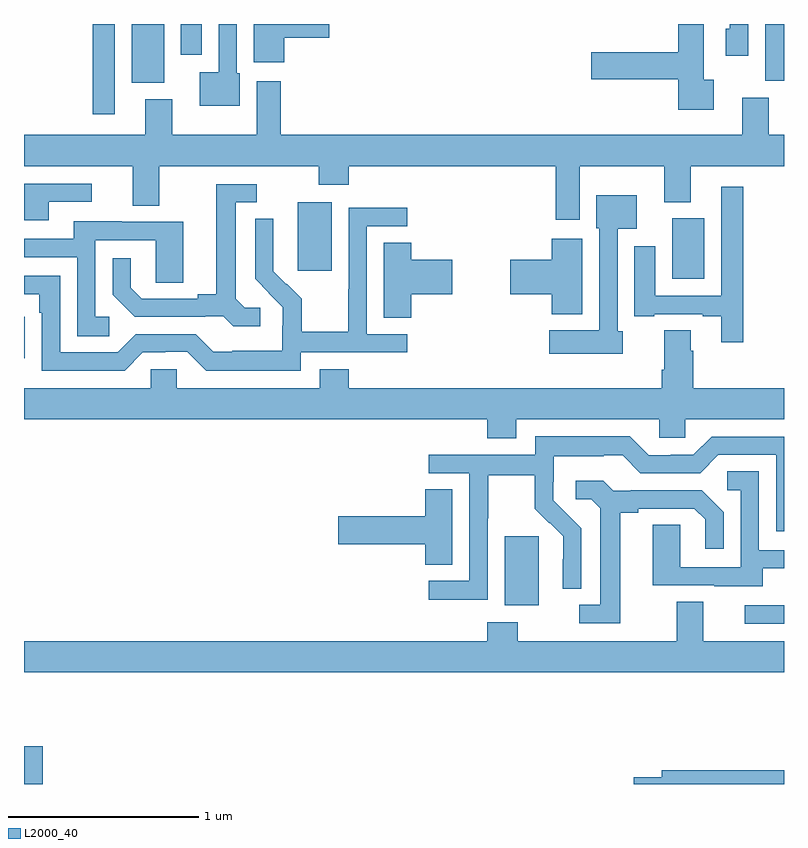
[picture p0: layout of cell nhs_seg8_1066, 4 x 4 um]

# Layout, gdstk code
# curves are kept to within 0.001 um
import gdstk
lib = gdstk.Library(unit=1e-6, precision=1e-09)
def R(c, l, rs):  # rectangles x0, y0, x1, y1
    for r in rs: c.add(gdstk.rectangle(r[:2], r[2:], *l))
def P(c, l, *ps):  # polygons
    for p in ps: c.add(gdstk.Polygon(p, *l))
L2000_40 = (2000, 40)

nhs_seg8_1066 = lib.new_cell('nhs_seg8_1066')
R(nhs_seg8_1066, L2000_40, [(179,1127.9,179.099,1128.1), (182.793,1128.744,183,1128.84), (181.529,1128.842,181.708,1129.203), (179,1130.142,179.003,1130.36), (182.411,1130.558,182.581,1130.878), (180.44,1130.601,180.619,1130.962), (179.362,1131.426,179.478,1131.9), (179.567,1131.59,179.737,1131.9), (182.9,1131.601,183,1131.9), (179.825,1131.738,179.935,1131.9)])
P(nhs_seg8_1066, L2000_40, [(182.811,1131.9),(182.715,1131.9),(182.715,1131.876),(182.694,1131.876),(182.694,1131.732),(182.811,1131.732)],
  [(180.136,1131.642),(180.12,1131.642),(180.12,1131.9),(180.024,1131.9),(180.024,1131.646),(179.924,1131.646),(179.924,1131.47),(180.136,1131.47)],
  [(180.371,1131.827),(180.607,1131.827),(180.607,1131.9),(180.209,1131.9),(180.209,1131.699),(180.371,1131.699)],
  [(182.629,1131.606),(182.578,1131.606),(182.578,1131.9),(182.444,1131.9),(182.444,1131.752),(181.986,1131.752),(181.986,1131.61),(182.444,1131.61),(182.444,1131.45),(182.629,1131.45)],
  [(181.924,1131.152),(182.369,1131.152),(182.369,1130.963),(182.509,1130.963),(182.509,1131.152),(183,1131.152),(183,1131.316),(182.92,1131.316),(182.92,1131.511),(182.78,1131.511),(182.78,1131.316),(180.35,1131.316),(180.35,1131.598),(180.224,1131.598),(180.224,1131.316),(179.779,1131.316),(179.779,1131.505),(179.639,1131.505),(179.639,1131.316),(179,1131.316),(179,1131.152),(179.573,1131.152),(179.573,1130.944),(179.713,1130.944),(179.713,1131.152),(180.55,1131.152),(180.55,1131.053),(180.71,1131.053),(180.71,1131.152),(181.799,1131.152),(181.799,1130.871),(181.924,1130.871)],
  [(179.131,1130.964),(179.356,1130.964),(179.356,1131.06),(179,1131.06),(179,1130.868),(179.131,1130.868)],
  [(180.244,1130.406),(180.162,1130.406),(180.115,1130.453),(180.115,1130.961),(180.226,1130.961),(180.226,1131.057),(180.011,1131.057),(180.011,1130.477),(179.915,1130.477),(179.915,1130.454),(179.62,1130.454),(179.563,1130.511),(179.563,1130.668),(179.466,1130.668),(179.466,1130.474),(179.582,1130.358),(179.954,1130.358),(179.954,1130.361),(180.048,1130.361),(180.1,1130.309),(180.244,1130.309)],
  [(182.786,1131.043),(182.67,1131.043),(182.67,1130.469),(182.323,1130.469),(182.323,1130.731),(182.213,1130.731),(182.213,1130.361),(182.317,1130.361),(182.317,1130.373),(182.573,1130.373),(182.573,1130.361),(182.669,1130.361),(182.669,1130.226),(182.786,1130.226)],
  [(182.152,1130.283),(182.124,1130.283),(182.124,1130.822),(182.224,1130.822),(182.224,1130.998),(182.012,1130.998),(182.012,1130.826),(182.028,1130.826),(182.028,1130.287),(181.764,1130.287),(181.764,1130.165),(182.152,1130.165)],
  [(180.456,1130.172),(181.018,1130.172),(181.018,1130.268),(180.804,1130.268),(180.804,1130.835),(181.018,1130.835),(181.018,1130.934),(180.708,1130.934),(180.708,1130.504),(180.706,1130.504),(180.706,1130.281),(180.461,1130.281),(180.461,1130.455),(180.384,1130.532),(180.381,1130.529),(180.311,1130.6),(180.312,1130.876),(180.216,1130.876),(180.216,1130.558),(180.362,1130.41),(180.362,1130.313),(180.36,1130.313),(180.36,1130.179),(180.097,1130.179),(180.097,1130.175),(179.997,1130.175),(179.904,1130.268),(179.589,1130.268),(179.493,1130.172),(179.19,1130.172),(179.19,1130.574),(179,1130.574),(179,1130.478),(179.081,1130.478),(179.081,1130.381),(179.094,1130.381),(179.094,1130.076),(179.529,1130.076),(179.625,1130.172),(179.744,1130.172),(179.744,1130.175),(179.859,1130.175),(179.959,1130.075),(180.456,1130.075)],
  [(179.449,1130.358),(179.376,1130.358),(179.376,1130.763),(179.694,1130.763),(179.694,1130.539),(179.839,1130.539),(179.839,1130.859),(179.515,1130.859),(179.515,1130.863),(179.261,1130.863),(179.261,1130.769),(179,1130.769),(179,1130.673),(179.28,1130.673),(179.28,1130.257),(179.449,1130.257)],
  [(181.939,1130.77),(181.778,1130.77),(181.778,1130.66),(181.56,1130.66),(181.56,1130.477),(181.778,1130.477),(181.778,1130.372),(181.939,1130.372)],
  [(181.037,1130.477),(181.255,1130.477),(181.255,1130.66),(181.037,1130.66),(181.037,1130.75),(180.893,1130.75),(180.893,1130.353),(181.037,1130.353)],
  [(181.591,1129.82),(182.343,1129.82),(182.343,1129.722),(182.481,1129.722),(182.481,1129.82),(183,1129.82),(183,1129.984),(182.522,1129.984),(182.522,1130.18),(182.509,1130.18),(182.509,1130.288),(182.369,1130.288),(182.369,1130.08),(182.357,1130.08),(182.357,1129.984),(180.71,1129.984),(180.71,1130.083),(180.557,1130.083),(180.557,1129.984),(179.805,1129.984),(179.805,1130.082),(179.667,1130.082),(179.667,1129.984),(179,1129.984),(179,1129.82),(181.439,1129.82),(181.439,1129.721),(181.591,1129.721)],
  [(181.44,1129.3),(181.443,1129.3),(181.443,1129.524),(181.687,1129.524),(181.687,1129.349),(181.764,1129.272),(181.767,1129.275),(181.838,1129.205),(181.838,1129.082),(181.836,1129.082),(181.836,1128.928),(181.932,1128.928),(181.932,1129.246),(181.786,1129.394),(181.786,1129.491),(181.788,1129.491),(181.788,1129.625),(182.051,1129.625),(182.051,1129.629),(182.151,1129.629),(182.244,1129.536),(182.559,1129.536),(182.655,1129.632),(182.958,1129.632),(182.958,1129.23),(183,1129.23),(183,1129.728),(182.619,1129.728),(182.523,1129.632),(182.405,1129.632),(182.405,1129.629),(182.289,1129.629),(182.189,1129.729),(181.692,1129.729),(181.692,1129.632),(181.131,1129.632),(181.131,1129.536),(181.344,1129.536),(181.344,1128.969),(181.131,1128.969),(181.131,1128.871),(181.44,1128.871)],
  [(182.887,1129.035),(183,1129.035),(183,1129.131),(182.868,1129.131),(182.868,1129.547),(182.7,1129.547),(182.7,1129.446),(182.772,1129.446),(182.772,1129.041),(182.454,1129.041),(182.454,1129.265),(182.309,1129.265),(182.309,1128.945),(182.633,1128.945),(182.633,1128.941),(182.887,1128.941)],
  [(182.137,1129.328),(182.233,1129.328),(182.233,1129.35),(182.528,1129.35),(182.585,1129.293),(182.585,1129.137),(182.682,1129.137),(182.682,1129.33),(182.566,1129.446),(182.194,1129.446),(182.194,1129.443),(182.1,1129.443),(182.048,1129.495),(181.905,1129.495),(181.905,1129.398),(181.986,1129.398),(182.033,1129.351),(182.033,1128.843),(181.923,1128.843),(181.923,1128.747),(182.137,1128.747)],
  [(181.255,1129.451),(181.112,1129.451),(181.112,1129.31),(180.654,1129.31),(180.654,1129.163),(181.112,1129.163),(181.112,1129.054),(181.255,1129.054)],
  [(183,1128.652),(182.575,1128.652),(182.575,1128.86),(182.435,1128.86),(182.435,1128.652),(181.599,1128.652),(181.599,1128.751),(181.439,1128.751),(181.439,1128.652),(179,1128.652),(179,1128.488),(183,1128.488)],
  [(183,1127.972),(182.357,1127.972),(182.357,1127.936),(182.208,1127.936),(182.208,1127.9),(183,1127.9)])

lib.write_gds('nhs_seg8_1066.gds')
